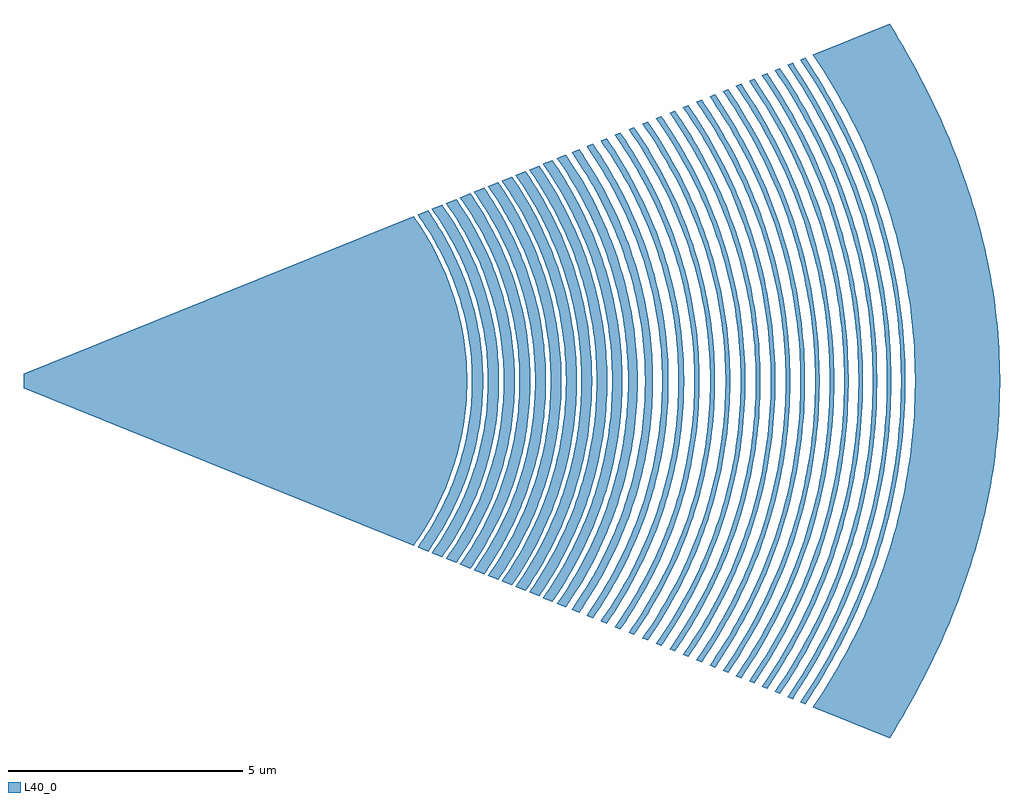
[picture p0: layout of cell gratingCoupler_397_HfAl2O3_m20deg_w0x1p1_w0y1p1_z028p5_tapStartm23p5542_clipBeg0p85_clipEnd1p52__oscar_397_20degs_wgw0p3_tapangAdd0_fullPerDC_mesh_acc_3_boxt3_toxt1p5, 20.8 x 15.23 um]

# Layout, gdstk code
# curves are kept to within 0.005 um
import gdstk
lib = gdstk.Library(unit=1e-6, precision=1e-09)
def P(c, l, *ps):  # polygons
    for p in ps: c.add(gdstk.Polygon(p, *l))
L40_0 = (40, 0)

gratingcoupler_397_hfal2 = lib.new_cell('gratingCoupler_397_HfAl2O3_m20deg_w0x1p1_w0y1p1_z028p5_tapStartm23p5542_clipBeg0p85_clipEnd1p52__oscar_397_20degs_wgw0p3_tapangAdd0_fullPerDC_mesh_acc_3_boxt3_toxt1p5')
P(gratingcoupler_397_hfal2, L40_0, [(8.306,-3.511),(0,-0.15),(0,0.15),(8.306,3.511),(8.519,3.19),(8.774,2.741),(8.983,2.292),(9.15,1.842),(9.277,1.393),(9.368,0.944),(9.423,0.494),(9.443,0.045),(9.439,-0.225),(9.423,-0.494),(9.368,-0.944),(9.277,-1.393),(9.15,-1.842),(8.983,-2.292),(8.774,-2.741),(8.519,-3.19)],
  [(8.609,-3.634),(8.386,-3.543),(8.676,-3.101),(8.876,-2.741),(9.085,-2.292),(9.252,-1.842),(9.379,-1.393),(9.47,-0.944),(9.525,-0.494),(9.545,-0.045),(9.541,0.225),(9.525,0.494),(9.47,0.944),(9.379,1.393),(9.252,1.842),(9.085,2.292),(8.876,2.741),(8.676,3.101),(8.386,3.543),(8.609,3.634),(8.898,3.188),(9.102,2.818),(9.315,2.356),(9.485,1.894),(9.615,1.432),(9.707,0.97),(9.763,0.508),(9.783,0.046),(9.779,-0.231),(9.763,-0.508),(9.707,-0.97),(9.615,-1.432),(9.485,-1.894),(9.315,-2.356),(9.102,-2.818),(8.898,-3.188)],
  [(8.911,-3.756),(8.689,-3.666),(8.944,-3.28),(9.203,-2.818),(9.294,-2.633),(9.416,-2.356),(9.586,-1.894),(9.693,-1.525),(9.793,-1.063),(9.856,-0.601),(9.881,-0.231),(9.885,-0.046),(9.871,0.416),(9.846,0.693),(9.808,0.97),(9.716,1.432),(9.586,1.894),(9.416,2.356),(9.294,2.633),(9.203,2.818),(8.944,3.28),(8.689,3.666),(8.911,3.756),(9.044,3.559),(9.221,3.274),(9.428,2.894),(9.564,2.61),(9.645,2.42),(9.818,1.945),(9.95,1.471),(10.028,1.091),(10.092,0.617),(10.113,0.332),(10.121,0.047),(10.107,-0.427),(10.058,-0.902),(9.992,-1.281),(9.95,-1.471),(9.818,-1.945),(9.645,-2.42),(9.564,-2.61),(9.428,-2.894),(9.221,-3.274),(9.044,-3.559)],
  [(9.211,-3.877),(8.989,-3.787),(9.265,-3.369),(9.377,-3.179),(9.529,-2.894),(9.746,-2.42),(9.887,-2.04),(10.027,-1.566),(10.092,-1.281),(10.144,-0.996),(10.201,-0.522),(10.222,-0.047),(10.218,0.237),(10.201,0.522),(10.144,0.996),(10.05,1.471),(9.976,1.756),(9.918,1.945),(9.746,2.42),(9.529,2.894),(9.377,3.179),(9.265,3.369),(8.989,3.787),(9.211,3.877),(9.485,3.457),(9.598,3.263),(9.753,2.97),(9.973,2.483),(10.117,2.094),(10.259,1.607),(10.362,1.12),(10.405,0.828),(10.436,0.536),(10.457,0.049),(10.453,-0.243),(10.436,-0.536),(10.378,-1.023),(10.283,-1.51),(10.148,-1.997),(9.973,-2.483),(9.753,-2.97),(9.598,-3.263),(9.485,-3.457)],
  [(9.51,-3.998),(9.289,-3.909),(9.585,-3.457),(9.803,-3.068),(9.946,-2.776),(10.032,-2.581),(10.217,-2.094),(10.359,-1.607),(10.462,-1.12),(10.506,-0.828),(10.536,-0.536),(10.557,-0.049),(10.553,0.243),(10.536,0.536),(10.478,1.023),(10.383,1.51),(10.307,1.802),(10.217,2.094),(10.032,2.581),(9.946,2.776),(9.803,3.068),(9.585,3.457),(9.289,3.909),(9.51,3.998),(9.803,3.545),(9.972,3.246),(10.075,3.046),(10.215,2.746),(10.298,2.547),(10.445,2.147),(10.589,1.648),(10.694,1.148),(10.738,0.849),(10.769,0.549),(10.791,0.05),(10.787,-0.25),(10.776,-0.449),(10.725,-0.949),(10.636,-1.448),(10.564,-1.748),(10.477,-2.047),(10.411,-2.247),(10.298,-2.547),(10.215,-2.746),(10.075,-3.046),(9.972,-3.246),(9.803,-3.545)],
  [(9.807,-4.118),(9.587,-4.029),(9.842,-3.645),(9.961,-3.445),(10.124,-3.146),(10.223,-2.946),(10.357,-2.646),(10.437,-2.447),(10.544,-2.147),(10.689,-1.648),(10.756,-1.348),(10.81,-1.049),(10.86,-0.649),(10.882,-0.35),(10.89,-0.05),(10.876,0.449),(10.86,0.649),(10.81,1.049),(10.713,1.548),(10.576,2.047),(10.398,2.547),(10.174,3.046),(10.071,3.246),(9.902,3.545),(9.714,3.845),(9.587,4.029),(9.807,4.118),(9.928,3.939),(10.119,3.632),(10.235,3.428),(10.395,3.121),(10.537,2.814),(10.622,2.609),(10.7,2.405),(10.803,2.098),(10.864,1.893),(10.942,1.586),(11.024,1.177),(11.069,0.87),(11.1,0.563),(11.114,0.358),(11.122,0.051),(11.108,-0.46),(11.081,-0.767),(11.04,-1.074),(11.006,-1.279),(10.942,-1.586),(10.864,-1.893),(10.803,-2.098),(10.7,-2.405),(10.622,-2.609),(10.537,-2.814),(10.395,-3.121),(10.235,-3.428),(10.119,-3.632),(9.928,-3.939)],
  [(10.102,-4.238),(9.884,-4.149),(10.156,-3.735),(10.334,-3.428),(10.494,-3.121),(10.721,-2.609),(10.869,-2.2),(10.962,-1.893),(11.041,-1.586),(11.139,-1.074),(11.168,-0.87),(11.199,-0.563),(11.221,-0.051),(11.212,0.358),(11.168,0.87),(11.085,1.381),(10.99,1.791),(10.902,2.098),(10.798,2.405),(10.679,2.711),(10.543,3.018),(10.277,3.53),(10.092,3.837),(9.884,4.149),(10.102,4.238),(10.37,3.824),(10.493,3.614),(10.661,3.3),(10.811,2.986),(10.901,2.776),(11.022,2.462),(11.094,2.252),(11.189,1.938),(11.243,1.729),(11.351,1.205),(11.42,0.681),(11.443,0.367),(11.452,0.052),(11.437,-0.471),(11.409,-0.786),(11.368,-1.1),(11.268,-1.624),(11.189,-1.938),(11.127,-2.148),(11.059,-2.357),(10.943,-2.671),(10.811,-2.986),(10.713,-3.195),(10.607,-3.405),(10.432,-3.719),(10.239,-4.033)],
  [(10.394,-4.356),(10.178,-4.268),(10.404,-3.929),(10.531,-3.719),(10.705,-3.405),(10.861,-3.09),(10.955,-2.881),(11.082,-2.567),(11.192,-2.252),(11.287,-1.938),(11.39,-1.519),(11.482,-0.995),(11.535,-0.471),(11.55,-0.052),(11.535,0.471),(11.482,0.995),(11.411,1.414),(11.315,1.833),(11.225,2.148),(11.12,2.462),(10.999,2.776),(10.861,3.09),(10.705,3.405),(10.531,3.719),(10.404,3.929),(10.178,4.268),(10.394,4.356),(10.548,4.127),(10.681,3.912),(10.864,3.591),(10.976,3.376),(11.175,2.948),(11.303,2.626),(11.416,2.305),(11.512,1.983),(11.567,1.769),(11.677,1.233),(11.747,0.697),(11.77,0.375),(11.779,0.054),(11.764,-0.482),(11.736,-0.804),(11.694,-1.125),(11.638,-1.447),(11.567,-1.769),(11.512,-1.983),(11.416,-2.305),(11.303,-2.626),(11.175,-2.948),(10.976,-3.376),(10.864,-3.591),(10.681,-3.912),(10.548,-4.127)],
  [(10.686,-4.474),(10.471,-4.387),(10.645,-4.127),(10.842,-3.805),(11.019,-3.484),(11.177,-3.162),(11.317,-2.84),(11.44,-2.519),(11.547,-2.197),(11.638,-1.876),(11.736,-1.447),(11.775,-1.233),(11.821,-0.911),(11.861,-0.482),(11.876,-0.054),(11.875,0.161),(11.861,0.482),(11.821,0.911),(11.775,1.233),(11.736,1.447),(11.638,1.876),(11.547,2.197),(11.44,2.519),(11.317,2.84),(11.177,3.162),(11.019,3.484),(10.842,3.805),(10.645,4.127),(10.471,4.387),(10.686,4.474),(10.99,4),(11.176,3.672),(11.289,3.452),(11.394,3.233),(11.536,2.904),(11.661,2.576),(11.735,2.356),(11.833,2.028),(11.889,1.808),(11.939,1.589),(12.001,1.26),(12.048,0.932),(12.081,0.603),(12.104,0.055),(12.089,-0.493),(12.06,-0.822),(12.018,-1.151),(11.982,-1.37),(11.915,-1.699),(11.833,-2.028),(11.735,-2.356),(11.661,-2.576),(11.536,-2.904),(11.394,-3.233),(11.289,-3.452),(11.176,-3.672),(10.99,-4)],
  [(10.974,-4.591),(10.763,-4.505),(10.953,-4.219),(11.152,-3.891),(11.274,-3.672),(11.441,-3.343),(11.589,-3.014),(11.72,-2.685),(11.834,-2.356),(11.931,-2.028),(12.037,-1.589),(12.117,-1.151),(12.147,-0.932),(12.179,-0.603),(12.203,-0.055),(12.187,0.493),(12.147,0.932),(12.06,1.48),(11.988,1.808),(11.931,2.028),(11.834,2.356),(11.72,2.685),(11.589,3.014),(11.441,3.343),(11.274,3.672),(11.152,3.891),(10.953,4.219),(10.763,4.505),(10.974,4.591),(11.296,4.088),(11.424,3.864),(11.599,3.528),(11.706,3.304),(11.85,2.968),(11.937,2.744),(12.052,2.408),(12.152,2.072),(12.209,1.848),(12.282,1.512),(12.34,1.176),(12.404,0.616),(12.428,0.056),(12.412,-0.504),(12.383,-0.84),(12.34,-1.176),(12.282,-1.512),(12.209,-1.848),(12.152,-2.072),(12.052,-2.408),(11.937,-2.744),(11.85,-2.968),(11.706,-3.304),(11.599,-3.528),(11.424,-3.864),(11.296,-4.088)],
  [(11.261,-4.707),(11.057,-4.624),(11.265,-4.312),(11.467,-3.976),(11.649,-3.64),(11.812,-3.304),(11.91,-3.08),(12.043,-2.744),(12.158,-2.408),(12.258,-2.072),(12.388,-1.512),(12.462,-1.064),(12.51,-0.616),(12.534,-0.056),(12.518,0.504),(12.462,1.064),(12.388,1.512),(12.258,2.072),(12.158,2.408),(12.043,2.744),(11.91,3.08),(11.812,3.304),(11.649,3.64),(11.467,3.976),(11.265,4.312),(11.057,4.624),(11.261,4.707),(11.46,4.404),(11.599,4.175),(11.791,3.832),(11.908,3.603),(12.067,3.26),(12.163,3.031),(12.251,2.803),(12.369,2.459),(12.47,2.116),(12.528,1.887),(12.579,1.659),(12.643,1.315),(12.678,1.087),(12.717,0.744),(12.741,0.4),(12.751,0.057),(12.735,-0.515),(12.705,-0.858),(12.661,-1.201),(12.602,-1.544),(12.528,-1.887),(12.47,-2.116),(12.369,-2.459),(12.251,-2.803),(12.163,-3.031),(12.067,-3.26),(11.908,-3.603),(11.791,-3.832),(11.599,-4.175),(11.46,-4.404)],
  [(11.547,-4.822),(11.356,-4.745),(11.509,-4.518),(11.721,-4.175),(11.913,-3.832),(12.085,-3.489),(12.238,-3.146),(12.33,-2.917),(12.453,-2.574),(12.56,-2.231),(12.622,-2.002),(12.701,-1.659),(12.746,-1.43),(12.8,-1.087),(12.848,-0.629),(12.868,-0.286),(12.873,-0.057),(12.868,0.286),(12.856,0.515),(12.839,0.744),(12.8,1.087),(12.746,1.43),(12.701,1.659),(12.592,2.116),(12.49,2.459),(12.373,2.803),(12.238,3.146),(12.085,3.489),(11.913,3.832),(11.721,4.175),(11.582,4.404),(11.356,4.745),(11.547,4.822),(11.686,4.613),(11.901,4.263),(12.034,4.029),(12.215,3.679),(12.377,3.329),(12.475,3.095),(12.607,2.745),(12.685,2.511),(12.788,2.161),(12.847,1.927),(12.9,1.693),(12.965,1.343),(13,1.11),(13.04,0.759),(13.065,0.409),(13.075,0.058),(13.07,-0.292),(13.05,-0.642),(13.015,-0.993),(12.983,-1.226),(12.923,-1.577),(12.847,-1.927),(12.788,-2.161),(12.685,-2.511),(12.607,-2.745),(12.475,-3.095),(12.377,-3.329),(12.215,-3.679),(12.034,-4.029),(11.901,-4.263),(11.686,-4.613)],
  [(11.833,-4.938),(11.67,-4.872),(11.844,-4.613),(12.06,-4.263),(12.255,-3.912),(12.43,-3.562),(12.586,-3.212),(12.679,-2.978),(12.805,-2.628),(12.914,-2.277),(13.033,-1.81),(13.142,-1.226),(13.187,-0.876),(13.208,-0.642),(13.223,-0.409),(13.233,-0.058),(13.228,0.292),(13.216,0.526),(13.187,0.876),(13.158,1.11),(13.058,1.693),(13.006,1.927),(12.914,2.277),(12.805,2.628),(12.679,2.978),(12.586,3.212),(12.43,3.562),(12.255,3.912),(12.06,4.263),(11.844,4.613),(11.67,4.872),(11.833,4.938),(11.985,4.709),(12.205,4.351),(12.34,4.113),(12.525,3.755),(12.69,3.398),(12.79,3.159),(12.924,2.802),(13.004,2.563),(13.109,2.206),(13.198,1.848),(13.27,1.49),(13.309,1.252),(13.355,0.894),(13.377,0.656),(13.402,0.06),(13.397,-0.298),(13.377,-0.656),(13.355,-0.894),(13.309,-1.252),(13.27,-1.49),(13.198,-1.848),(13.109,-2.206),(13.004,-2.563),(12.924,-2.802),(12.79,-3.159),(12.69,-3.398),(12.525,-3.755),(12.34,-4.113),(12.205,-4.351),(11.985,-4.709)],
  [(12.121,-5.055),(11.986,-5),(12.181,-4.709),(12.401,-4.351),(12.6,-3.994),(12.721,-3.755),(12.834,-3.517),(12.987,-3.159),(13.121,-2.802),(13.238,-2.444),(13.306,-2.206),(13.394,-1.848),(13.506,-1.252),(13.552,-0.894),(13.574,-0.656),(13.599,-0.06),(13.594,0.298),(13.582,0.536),(13.552,0.894),(13.523,1.133),(13.487,1.371),(13.42,1.729),(13.367,1.967),(13.273,2.325),(13.201,2.563),(13.078,2.921),(12.938,3.279),(12.779,3.636),(12.6,3.994),(12.401,4.351),(12.181,4.709),(11.986,5),(12.121,5.055),(12.365,4.684),(12.512,4.441),(12.65,4.198),(12.839,3.833),(13.059,3.346),(13.157,3.103),(13.288,2.738),(13.401,2.373),(13.496,2.008),(13.551,1.764),(13.619,1.399),(13.656,1.156),(13.697,0.791),(13.723,0.426),(13.733,0.061),(13.728,-0.304),(13.716,-0.548),(13.685,-0.913),(13.638,-1.278),(13.598,-1.521),(13.525,-1.886),(13.435,-2.251),(13.327,-2.616),(13.246,-2.859),(13.109,-3.224),(13.007,-3.468),(12.839,-3.833),(12.65,-4.198),(12.512,-4.441),(12.365,-4.684)],
  [(12.413,-5.173),(12.286,-5.122),(12.5,-4.806),(12.652,-4.563),(12.862,-4.198),(13.051,-3.833),(13.22,-3.468),(13.322,-3.224),(13.459,-2.859),(13.577,-2.494),(13.647,-2.251),(13.737,-1.886),(13.811,-1.521),(13.851,-1.278),(13.884,-1.034),(13.92,-0.669),(13.946,-0.061),(13.944,0.183),(13.928,0.548),(13.91,0.791),(13.868,1.156),(13.811,1.521),(13.763,1.764),(13.709,2.008),(13.613,2.373),(13.54,2.616),(13.415,2.981),(13.272,3.346),(13.11,3.711),(12.927,4.076),(12.724,4.441),(12.5,4.806),(12.286,5.122),(12.413,5.173),(12.749,4.655),(12.962,4.282),(13.155,3.91),(13.326,3.538),(13.43,3.289),(13.525,3.041),(13.652,2.669),(13.761,2.296),(13.824,2.048),(13.904,1.676),(13.968,1.303),(14.038,0.683),(14.059,0.31),(14.064,0.062),(14.059,-0.31),(14.038,-0.683),(13.968,-1.303),(13.904,-1.676),(13.824,-2.048),(13.761,-2.296),(13.652,-2.669),(13.525,-3.041),(13.43,-3.289),(13.326,-3.538),(13.155,-3.91),(12.962,-4.282),(12.749,-4.655)],
  [(12.706,-5.291),(12.585,-5.242),(12.733,-5.027),(12.969,-4.655),(13.183,-4.282),(13.376,-3.91),(13.547,-3.538),(13.651,-3.289),(13.79,-2.917),(13.911,-2.545),(14.014,-2.172),(14.073,-1.924),(14.148,-1.552),(14.188,-1.303),(14.222,-1.055),(14.259,-0.683),(14.285,-0.062),(14.283,0.186),(14.267,0.559),(14.236,0.931),(14.206,1.179),(14.148,1.552),(14.1,1.8),(14.014,2.172),(13.911,2.545),(13.79,2.917),(13.651,3.289),(13.547,3.538),(13.376,3.91),(13.183,4.282),(12.969,4.655),(12.733,5.027),(12.585,5.242),(12.706,5.291),(12.901,4.999),(13.133,4.62),(13.276,4.367),(13.471,3.987),(13.645,3.607),(13.75,3.354),(13.846,3.101),(13.975,2.721),(14.051,2.468),(14.15,2.088),(14.231,1.709),(14.296,1.329),(14.33,1.076),(14.367,0.696),(14.383,0.443),(14.393,0.063),(14.392,-0.19),(14.376,-0.57),(14.344,-0.949),(14.296,-1.329),(14.231,-1.709),(14.15,-2.088),(14.051,-2.468),(13.975,-2.721),(13.846,-3.101),(13.75,-3.354),(13.645,-3.607),(13.471,-3.987),(13.276,-4.367),(13.133,-4.62),(12.901,-4.999)],
  [(12.998,-5.41),(12.882,-5.363),(13.127,-4.999),(13.359,-4.62),(13.569,-4.24),(13.697,-3.987),(13.871,-3.607),(13.976,-3.354),(14.117,-2.974),(14.24,-2.595),(14.345,-2.215),(14.405,-1.962),(14.457,-1.709),(14.522,-1.329),(14.556,-1.076),(14.593,-0.696),(14.609,-0.443),(14.619,-0.063),(14.618,0.19),(14.602,0.57),(14.57,0.949),(14.522,1.329),(14.457,1.709),(14.405,1.962),(14.345,2.215),(14.24,2.595),(14.117,2.974),(13.976,3.354),(13.871,3.607),(13.697,3.987),(13.569,4.24),(13.359,4.62),(13.127,4.999),(12.882,5.363),(12.998,5.41),(13.208,5.095),(13.368,4.837),(13.588,4.45),(13.722,4.192),(13.847,3.934),(14.017,3.547),(14.119,3.289),(14.256,2.902),(14.374,2.515),(14.443,2.257),(14.531,1.87),(14.602,1.483),(14.64,1.225),(14.684,0.838),(14.71,0.451),(14.721,0.064),(14.716,-0.322),(14.694,-0.709),(14.671,-0.967),(14.622,-1.354),(14.557,-1.741),(14.474,-2.128),(14.374,-2.515),(14.297,-2.773),(14.212,-3.031),(14.069,-3.418),(13.906,-3.805),(13.786,-4.063),(13.588,-4.45),(13.368,-4.837),(13.208,-5.095)],
  [(13.29,-5.528),(13.175,-5.481),(13.435,-5.095),(13.594,-4.837),(13.743,-4.579),(13.949,-4.192),(14.132,-3.805),(14.243,-3.547),(14.393,-3.16),(14.524,-2.773),(14.636,-2.386),(14.701,-2.128),(14.758,-1.87),(14.829,-1.483),(14.883,-1.096),(14.921,-0.709),(14.937,-0.451),(14.948,-0.064),(14.942,0.322),(14.921,0.709),(14.898,0.967),(14.849,1.354),(14.807,1.612),(14.73,1.999),(14.636,2.386),(14.563,2.644),(14.439,3.031),(14.295,3.418),(14.132,3.805),(13.949,4.192),(13.814,4.45),(13.594,4.837),(13.435,5.095),(13.175,5.481),(13.29,5.528),(13.514,5.191),(13.676,4.928),(13.899,4.534),(14.035,4.271),(14.221,3.877),(14.333,3.614),(14.485,3.219),(14.575,2.957),(14.695,2.562),(14.764,2.3),(14.854,1.905),(14.926,1.511),(14.981,1.117),(15.02,0.723),(15.036,0.46),(15.047,0.066),(15.041,-0.329),(15.02,-0.723),(14.996,-0.986),(14.946,-1.38),(14.904,-1.643),(14.826,-2.037),(14.731,-2.431),(14.617,-2.825),(14.485,-3.219),(14.333,-3.614),(14.221,-3.877),(14.035,-4.271),(13.899,-4.534),(13.676,-4.928),(13.514,-5.191)],
  [(13.581,-5.645),(13.466,-5.599),(13.739,-5.191),(13.901,-4.928),(14.124,-4.534),(14.26,-4.271),(14.446,-3.877),(14.611,-3.482),(14.756,-3.088),(14.882,-2.694),(14.956,-2.431),(15.051,-2.037),(15.129,-1.643),(15.171,-1.38),(15.221,-0.986),(15.245,-0.723),(15.261,-0.46),(15.272,-0.066),(15.27,0.197),(15.254,0.591),(15.234,0.854),(15.19,1.248),(15.129,1.643),(15.051,2.037),(14.956,2.431),(14.882,2.694),(14.756,3.088),(14.611,3.482),(14.446,3.877),(14.26,4.271),(14.124,4.534),(13.901,4.928),(13.739,5.191),(13.466,5.599),(13.581,5.645),(13.818,5.285),(13.982,5.018),(14.135,4.75),(14.345,4.349),(14.533,3.947),(14.701,3.546),(14.848,3.144),(14.935,2.877),(15.014,2.609),(15.116,2.208),(15.175,1.94),(15.248,1.539),(15.304,1.137),(15.331,0.87),(15.359,0.468),(15.37,0.067),(15.368,-0.201),(15.352,-0.602),(15.318,-1.004),(15.268,-1.405),(15.201,-1.806),(15.147,-2.074),(15.05,-2.475),(14.935,-2.877),(14.848,-3.144),(14.701,-3.546),(14.533,-3.947),(14.345,-4.349),(14.135,-4.75),(13.982,-5.018),(13.818,-5.285)],
  [(13.869,-5.762),(13.755,-5.716),(13.956,-5.419),(14.205,-5.018),(14.431,-4.616),(14.569,-4.349),(14.757,-3.947),(14.924,-3.546),(15.071,-3.144),(15.199,-2.743),(15.307,-2.342),(15.37,-2.074),(15.449,-1.673),(15.492,-1.405),(15.542,-1.004),(15.566,-0.736),(15.588,-0.335),(15.593,-0.067),(15.588,0.335),(15.566,0.736),(15.542,1.004),(15.492,1.405),(15.449,1.673),(15.37,2.074),(15.307,2.342),(15.199,2.743),(15.071,3.144),(14.924,3.546),(14.757,3.947),(14.569,4.349),(14.431,4.616),(14.205,5.018),(13.956,5.419),(13.755,5.716),(13.869,5.762),(14.121,5.379),(14.286,5.107),(14.441,4.834),(14.653,4.426),(14.783,4.154),(14.959,3.745),(15.115,3.336),(15.207,3.064),(15.33,2.656),(15.434,2.247),(15.52,1.838),(15.567,1.566),(15.624,1.158),(15.652,0.885),(15.68,0.477),(15.691,0.068),(15.685,-0.34),(15.663,-0.749),(15.624,-1.158),(15.588,-1.43),(15.52,-1.838),(15.465,-2.111),(15.367,-2.519),(15.25,-2.928),(15.115,-3.336),(14.959,-3.745),(14.783,-4.154),(14.653,-4.426),(14.441,-4.834),(14.286,-5.107),(14.121,-5.379)],
  [(14.155,-5.878),(14.042,-5.832),(14.255,-5.515),(14.508,-5.107),(14.663,-4.834),(14.875,-4.426),(15.005,-4.154),(15.181,-3.745),(15.336,-3.336),(15.472,-2.928),(15.552,-2.656),(15.656,-2.247),(15.742,-1.838),(15.81,-1.43),(15.845,-1.158),(15.885,-0.749),(15.902,-0.477),(15.913,-0.068),(15.907,0.34),(15.885,0.749),(15.845,1.158),(15.81,1.43),(15.742,1.838),(15.686,2.111),(15.623,2.383),(15.513,2.792),(15.384,3.2),(15.287,3.473),(15.125,3.881),(14.941,4.29),(14.736,4.698),(14.508,5.107),(14.255,5.515),(14.042,5.832),(14.155,5.878),(14.333,5.611),(14.588,5.195),(14.818,4.78),(14.959,4.503),(15.09,4.226),(15.269,3.81),(15.376,3.533),(15.52,3.117),(15.605,2.84),(15.716,2.425),(15.809,2.009),(15.884,1.593),(15.924,1.316),(15.97,0.901),(15.998,0.485),(16.009,0.069),(16.004,-0.346),(15.981,-0.762),(15.941,-1.178),(15.884,-1.593),(15.809,-2.009),(15.716,-2.425),(15.605,-2.84),(15.52,-3.117),(15.376,-3.533),(15.269,-3.81),(15.09,-4.226),(14.959,-4.503),(14.818,-4.78),(14.588,-5.195),(14.333,-5.611)],
  [(14.44,-5.993),(14.327,-5.947),(14.553,-5.611),(14.726,-5.334),(14.964,-4.918),(15.18,-4.503),(15.311,-4.226),(15.489,-3.81),(15.646,-3.394),(15.784,-2.979),(15.864,-2.702),(15.97,-2.286),(16.03,-2.009),(16.104,-1.593),(16.162,-1.178),(16.19,-0.901),(16.218,-0.485),(16.23,-0.069),(16.228,0.208),(16.211,0.623),(16.177,1.039),(16.125,1.455),(16.056,1.87),(15.97,2.286),(15.864,2.702),(15.784,2.979),(15.646,3.394),(15.489,3.81),(15.311,4.226),(15.18,4.503),(14.964,4.918),(14.726,5.334),(14.553,5.611),(14.327,5.947),(14.44,5.993),(14.718,5.565),(14.887,5.283),(15.121,4.861),(15.263,4.579),(15.396,4.297),(15.576,3.874),(15.735,3.452),(15.83,3.17),(15.956,2.747),(16.029,2.466),(16.123,2.043),(16.199,1.62),(16.24,1.338),(16.286,0.916),(16.314,0.493),(16.326,0.07),(16.324,-0.211),(16.307,-0.634),(16.272,-1.057),(16.22,-1.479),(16.176,-1.761),(16.094,-2.184),(15.994,-2.606),(15.874,-3.029),(15.735,-3.452),(15.576,-3.874),(15.396,-4.297),(15.263,-4.579),(15.121,-4.861),(14.887,-5.283),(14.718,-5.565)],
  [(14.722,-6.107),(14.611,-6.062),(14.848,-5.706),(15.106,-5.283),(15.264,-5.002),(15.482,-4.579),(15.677,-4.156),(15.795,-3.874),(15.954,-3.452),(16.093,-3.029),(16.175,-2.747),(16.281,-2.325),(16.342,-2.043),(16.418,-1.62),(16.476,-1.198),(16.516,-0.775),(16.539,-0.352),(16.545,-0.07),(16.543,0.211),(16.526,0.634),(16.491,1.057),(16.439,1.479),(16.369,1.902),(16.313,2.184),(16.248,2.466),(16.135,2.888),(16.003,3.311),(15.85,3.734),(15.677,4.156),(15.482,4.579),(15.264,5.002),(15.106,5.283),(14.848,5.706),(14.611,6.062),(14.722,6.107),(15.014,5.657),(15.185,5.371),(15.421,4.941),(15.565,4.655),(15.699,4.368),(15.881,3.938),(15.991,3.652),(16.138,3.222),(16.266,2.793),(16.34,2.506),(16.435,2.077),(16.512,1.647),(16.57,1.217),(16.611,0.788),(16.634,0.358),(16.64,0.072),(16.638,-0.215),(16.621,-0.644),(16.586,-1.074),(16.533,-1.504),(16.488,-1.79),(16.405,-2.22),(16.304,-2.65),(16.183,-3.079),(16.042,-3.509),(15.881,-3.938),(15.699,-4.368),(15.565,-4.655),(15.421,-4.941),(15.185,-5.371),(15.014,-5.657)],
  [(15.002,-6.22),(14.892,-6.176),(15.141,-5.8),(15.402,-5.371),(15.638,-4.941),(15.782,-4.655),(15.916,-4.368),(16.099,-3.938),(16.26,-3.509),(16.4,-3.079),(16.483,-2.793),(16.591,-2.363),(16.68,-1.933),(16.729,-1.647),(16.77,-1.361),(16.817,-0.931),(16.846,-0.501),(16.857,-0.072),(16.855,0.215),(16.838,0.644),(16.817,0.931),(16.77,1.361),(16.729,1.647),(16.652,2.077),(16.557,2.506),(16.443,2.936),(16.309,3.366),(16.155,3.795),(15.979,4.225),(15.782,4.655),(15.638,4.941),(15.402,5.371),(15.141,5.8),(14.892,6.176),(15.002,6.22),(15.217,5.894),(15.48,5.457),(15.719,5.021),(15.865,4.73),(16,4.439),(16.185,4.002),(16.296,3.711),(16.445,3.274),(16.533,2.983),(16.648,2.547),(16.744,2.11),(16.822,1.674),(16.881,1.237),(16.923,0.8),(16.946,0.364),(16.952,0.073),(16.946,-0.364),(16.923,-0.8),(16.897,-1.091),(16.844,-1.528),(16.772,-1.965),(16.682,-2.401),(16.612,-2.692),(16.49,-3.129),(16.348,-3.565),(16.185,-4.002),(16,-4.439),(15.865,-4.73),(15.719,-5.021),(15.48,-5.457),(15.217,-5.894)],
  [(15.281,-6.333),(15.171,-6.289),(15.339,-6.039),(15.611,-5.603),(15.858,-5.166),(16.08,-4.73),(16.28,-4.293),(16.457,-3.857),(16.613,-3.42),(16.705,-3.129),(16.828,-2.692),(16.898,-2.401),(16.988,-1.965),(17.038,-1.674),(17.097,-1.237),(17.127,-0.946),(17.156,-0.509),(17.168,-0.073),(17.162,0.364),(17.148,0.655),(17.113,1.091),(17.06,1.528),(16.988,1.965),(16.898,2.401),(16.828,2.692),(16.705,3.129),(16.613,3.42),(16.457,3.857),(16.28,4.293),(16.08,4.73),(15.858,5.166),(15.611,5.603),(15.339,6.039),(15.171,6.289),(15.281,6.333),(15.508,5.987),(15.688,5.691),(15.857,5.396),(16.09,4.952),(16.299,4.509),(16.486,4.065),(16.651,3.622),(16.749,3.326),(16.879,2.883),(16.989,2.439),(17.052,2.143),(17.13,1.7),(17.19,1.257),(17.22,0.961),(17.25,0.517),(17.262,0.074),(17.256,-0.37),(17.232,-0.813),(17.19,-1.257),(17.13,-1.7),(17.052,-2.143),(16.989,-2.439),(16.879,-2.883),(16.749,-3.326),(16.651,-3.622),(16.486,-4.065),(16.299,-4.509),(16.09,-4.952),(15.857,-5.396),(15.688,-5.691),(15.508,-5.987)],
  [(15.558,-6.445),(15.449,-6.401),(15.722,-5.987),(15.902,-5.691),(16.152,-5.248),(16.377,-4.804),(16.578,-4.361),(16.7,-4.065),(16.865,-3.622),(17.008,-3.178),(17.093,-2.883),(17.203,-2.439),(17.266,-2.143),(17.345,-1.7),(17.404,-1.257),(17.446,-0.813),(17.47,-0.37),(17.476,-0.074),(17.47,0.37),(17.456,0.665),(17.42,1.109),(17.367,1.552),(17.294,1.996),(17.236,2.291),(17.169,2.587),(17.052,3.03),(16.915,3.474),(16.757,3.917),(16.578,4.361),(16.377,4.804),(16.152,5.248),(15.902,5.691),(15.722,5.987),(15.449,6.401),(15.558,6.445),(15.796,6.079),(15.979,5.779),(16.15,5.479),(16.385,5.029),(16.529,4.728),(16.725,4.278),(16.898,3.828),(17.051,3.377),(17.141,3.077),(17.259,2.627),(17.357,2.177),(17.437,1.726),(17.497,1.276),(17.539,0.826),(17.563,0.375),(17.569,0.075),(17.563,-0.375),(17.539,-0.826),(17.497,-1.276),(17.437,-1.726),(17.357,-2.177),(17.259,-2.627),(17.141,-3.077),(17.051,-3.377),(16.898,-3.828),(16.725,-4.278),(16.529,-4.728),(16.385,-5.029),(16.15,-5.479),(15.979,-5.779),(15.796,-6.079)],
  [(15.833,-6.557),(15.725,-6.513),(16.009,-6.079),(16.278,-5.629),(16.522,-5.179),(16.671,-4.878),(16.809,-4.578),(16.998,-4.128),(17.164,-3.678),(17.309,-3.227),(17.395,-2.927),(17.506,-2.477),(17.57,-2.177),(17.649,-1.726),(17.692,-1.426),(17.74,-0.976),(17.77,-0.525),(17.782,-0.075),(17.776,0.375),(17.752,0.826),(17.71,1.276),(17.671,1.576),(17.625,1.876),(17.539,2.327),(17.434,2.777),(17.309,3.227),(17.164,3.678),(16.998,4.128),(16.809,4.578),(16.671,4.878),(16.522,5.179),(16.278,5.629),(16.009,6.079),(15.725,6.513),(15.833,6.557),(16.083,6.171),(16.355,5.714),(16.522,5.409),(16.752,4.952),(16.957,4.495),(17.082,4.19),(17.25,3.733),(17.35,3.428),(17.441,3.124),(17.561,2.666),(17.66,2.209),(17.74,1.752),(17.802,1.295),(17.832,0.99),(17.863,0.533),(17.875,0.076),(17.873,-0.229),(17.855,-0.686),(17.818,-1.143),(17.763,-1.6),(17.689,-2.057),(17.596,-2.514),(17.523,-2.819),(17.397,-3.276),(17.25,-3.733),(17.082,-4.19),(16.957,-4.495),(16.752,-4.952),(16.522,-5.409),(16.355,-5.714),(16.083,-6.171)],
  [(16.106,-6.667),(15.999,-6.624),(16.198,-6.323),(16.479,-5.866),(16.733,-5.409),(16.963,-4.952),(17.169,-4.495),(17.352,-4.038),(17.513,-3.581),(17.608,-3.276),(17.734,-2.819),(17.807,-2.514),(17.9,-2.057),(17.952,-1.752),(18.013,-1.295),(18.056,-0.838),(18.08,-0.381),(18.086,-0.076),(18.08,0.381),(18.056,0.838),(18.013,1.295),(17.974,1.6),(17.9,2.057),(17.807,2.514),(17.734,2.819),(17.608,3.276),(17.513,3.581),(17.352,4.038),(17.169,4.495),(16.963,4.952),(16.733,5.409),(16.479,5.866),(16.198,6.323),(15.999,6.624),(16.106,6.667),(16.368,6.262),(16.554,5.953),(16.811,5.489),(17.043,5.025),(17.251,4.561),(17.377,4.252),(17.547,3.788),(17.648,3.479),(17.74,3.17),(17.861,2.706),(17.961,2.242),(18.042,1.778),(18.086,1.469),(18.135,1.005),(18.166,0.541),(18.178,0.077),(18.172,-0.387),(18.147,-0.85),(18.104,-1.314),(18.042,-1.778),(17.961,-2.242),(17.861,-2.706),(17.74,-3.17),(17.648,-3.479),(17.547,-3.788),(17.377,-4.252),(17.251,-4.561),(17.043,-5.025),(16.811,-5.489),(16.554,-5.953),(16.368,-6.262)],
  [(16.377,-6.777),(16.271,-6.734),(16.578,-6.262),(16.764,-5.953),(17.021,-5.489),(17.253,-5.025),(17.461,-4.561),(17.646,-4.097),(17.808,-3.633),(17.905,-3.324),(17.992,-3.015),(18.106,-2.551),(18.171,-2.242),(18.252,-1.778),(18.296,-1.469),(18.345,-1.005),(18.376,-0.541),(18.388,-0.077),(18.382,0.387),(18.368,0.696),(18.331,1.16),(18.275,1.623),(18.227,1.933),(18.14,2.397),(18.032,2.86),(17.905,3.324),(17.808,3.633),(17.646,4.097),(17.461,4.561),(17.253,5.025),(17.021,5.489),(16.764,5.953),(16.578,6.262),(16.271,6.734),(16.377,6.777),(16.552,6.509),(16.838,6.039),(17.098,5.568),(17.257,5.254),(17.405,4.941),(17.607,4.47),(17.786,4),(17.944,3.529),(18.079,3.059),(18.195,2.588),(18.29,2.117),(18.342,1.804),(18.405,1.333),(18.449,0.863),(18.467,0.549),(18.48,0.078),(18.473,-0.392),(18.449,-0.863),(18.405,-1.333),(18.342,-1.804),(18.29,-2.117),(18.195,-2.588),(18.079,-3.059),(17.944,-3.529),(17.786,-4),(17.607,-4.47),(17.405,-4.941),(17.257,-5.254),(17.098,-5.568),(16.838,-6.039),(16.552,-6.509)],
  [(16.646,-6.886),(16.54,-6.843),(16.76,-6.509),(17.047,-6.039),(17.306,-5.568),(17.541,-5.098),(17.751,-4.627),(17.938,-4.157),(18.05,-3.843),(18.2,-3.372),(18.288,-3.059),(18.403,-2.588),(18.469,-2.274),(18.551,-1.804),(18.613,-1.333),(18.657,-0.863),(18.676,-0.549),(18.688,-0.078),(18.682,0.392),(18.657,0.863),(18.63,1.176),(18.574,1.647),(18.498,2.117),(18.403,2.588),(18.288,3.059),(18.2,3.372),(18.05,3.843),(17.938,4.157),(17.751,4.627),(17.541,5.098),(17.306,5.568),(17.047,6.039),(16.76,6.509),(16.54,6.843),(16.646,6.886),(16.832,6.601),(17.121,6.124),(17.299,5.806),(17.544,5.329),(17.764,4.852),(17.96,4.374),(18.134,3.897),(18.237,3.579),(18.375,3.102),(18.491,2.625),(18.587,2.147),(18.64,1.829),(18.703,1.352),(18.748,0.875),(18.773,0.398),(18.779,0.08),(18.773,-0.398),(18.748,-0.875),(18.703,-1.352),(18.64,-1.829),(18.587,-2.147),(18.491,-2.625),(18.375,-3.102),(18.237,-3.579),(18.134,-3.897),(17.96,-4.374),(17.764,-4.852),(17.544,-5.329),(17.299,-5.806),(17.121,-6.124),(16.832,-6.601)],
  [(18.446,-7.614),(16.809,-6.952),(17.039,-6.601),(17.328,-6.124),(17.506,-5.806),(17.751,-5.329),(17.971,-4.852),(18.105,-4.533),(18.286,-4.056),(18.394,-3.738),(18.538,-3.261),(18.662,-2.784),(18.764,-2.307),(18.822,-1.988),(18.892,-1.511),(18.942,-1.034),(18.974,-0.557),(18.986,-0.08),(18.98,0.398),(18.955,0.875),(18.911,1.352),(18.847,1.829),(18.764,2.307),(18.662,2.784),(18.582,3.102),(18.444,3.579),(18.286,4.056),(18.105,4.533),(17.971,4.852),(17.751,5.329),(17.506,5.806),(17.328,6.124),(17.039,6.601),(16.809,6.952),(18.446,7.614),(18.722,7.153),(18.982,6.691),(19.223,6.23),(19.448,5.768),(19.655,5.307),(19.845,4.846),(20.018,4.384),(20.173,3.923),(20.312,3.461),(20.433,3),(20.567,2.384),(20.648,1.923),(20.711,1.461),(20.757,1),(20.786,0.538),(20.797,0.077),(20.792,-0.385),(20.769,-0.846),(20.711,-1.461),(20.648,-1.923),(20.567,-2.384),(20.469,-2.846),(20.354,-3.307),(20.221,-3.769),(20.072,-4.23),(19.905,-4.692),(19.721,-5.153),(19.519,-5.615),(19.3,-6.076),(18.982,-6.691),(18.722,-7.153)])

lib.write_gds('gratingCoupler_397_HfAl2O3_m20deg_w0x1p1_w0y1p1_z028p5_tapStartm23p5542_clipBeg0p85_clipEnd1p52__oscar_397_20degs_wgw0p3_tapangAdd0_fullPerDC_mesh_acc_3_boxt3_toxt1p5.gds')
